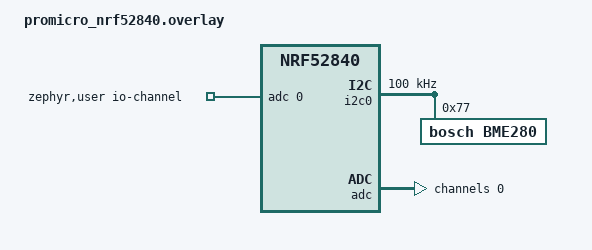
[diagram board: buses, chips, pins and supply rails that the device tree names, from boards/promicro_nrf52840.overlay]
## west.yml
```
# Copyright (c) 2021 Nordic Semiconductor ASA
# SPDX-License-Identifier: Apache-2.0

manifest:
  self:
    # west-commands: scripts/west-commands.yml
    path: app

  remotes:
    - name: zephyrproject-rtos
      url-base: https://github.com/zephyrproject-rtos

  projects:
    - name: zephyr
      remote: zephyrproject-rtos
      revision: v4.1.0
      import:
        # By using name-allowlist we can clone only the modules that are
        # strictly needed by the application.
        name-allowlist:
          - cmsis # required by the ARM port
          - hal_nordic # required by the custom_plank board (Nordic based)
          - hal_stm32 # required by the nucleo_f302r8 board (STM32 based)
          - segger
    - name: openthread
      url: https://github.com/openthread/openthread
      revision: main
```

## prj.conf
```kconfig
CONFIG_UART_CONSOLE=n
CONFIG_CONSOLE=y

CONFIG_GPIO=y
CONFIG_RTT_CONSOLE=y
CONFIG_USE_SEGGER_RTT=y

# Enable Zephyr logging and RTT backend
CONFIG_LOG=y
CONFIG_LOG_BACKEND_RTT=y

# Enable I2C and BME280 driver
CONFIG_I2C=y
CONFIG_SENSOR=y
CONFIG_BME280=y

# Enable ADC
CONFIG_ADC=y
CONFIG_SENSOR=y
```

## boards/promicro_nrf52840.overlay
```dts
/ {
	aliases {
		adc0 = &adc;
		bme280 = &bme280;
	};
	zephyr,user {
		io-channels = <&adc 0>;
	};
};

&i2c0 {
	status = "okay";
	clock-frequency = <I2C_BITRATE_STANDARD>;
	
	bme280: bme280@77 {
		compatible = "bosch,bme280";
		reg = <0x77>;
		status = "okay";
	};
};

&adc {
	#address-cells = <1>;
	#size-cells = <0>;
	
	channel@0 {
		reg = <0>;
		zephyr,gain = "ADC_GAIN_1_4";
		zephyr,reference = "ADC_REF_INTERNAL";
		zephyr,acquisition-time = <ADC_ACQ_TIME(ADC_ACQ_TIME_MICROSECONDS,10)>;
		zephyr,input-positive = <NRF_SAADC_AIN0>;
		zephyr,resolution = <12>;
		zephyr,oversampling = <2>; /* x4 */
	};
};
```

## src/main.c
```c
#include <zephyr/kernel.h>
#include <zephyr/drivers/adc.h>
#include <zephyr/drivers/gpio.h>
#include <zephyr/drivers/sensor.h>
#include <zephyr/devicetree.h>
#include <zephyr/logging/log.h>
#include <hal/nrf_saadc.h>

LOG_MODULE_REGISTER(main);

/* 1000 msec = 1 sec */
#define SLEEP_TIME_MS 200

static const struct gpio_dt_spec led = GPIO_DT_SPEC_GET(DT_ALIAS(led0), gpios);

/* ADC channel from devicetree */
static const struct adc_dt_spec adc_channel = ADC_DT_SPEC_GET_BY_IDX(DT_PATH(zephyr_user), 0);

/* BME280 device from devicetree */
static const struct device *bme280_dev = DEVICE_DT_GET(DT_ALIAS(bme280));

int main(void)
{
	int ret;
	bool led_state = true;
	int16_t buf;
	struct adc_sequence sequence = {
		.buffer = &buf,
		.buffer_size = sizeof(buf),
	};

	if (!device_is_ready(led.port)) {
		LOG_ERR("LED GPIO device not ready");
		return 0;
	}

	if (!device_is_ready(adc_channel.dev)) {
		LOG_ERR("ADC device not ready");
		return 0;
	}

	ret = gpio_pin_configure_dt(&led, GPIO_OUTPUT_ACTIVE);
	if (ret < 0) {
		LOG_ERR("Error configuring GPIO");
		return 0;
	}

	ret = adc_channel_setup_dt(&adc_channel);
	if (ret < 0) {
		LOG_ERR("Error setting up ADC channel: %d", ret);
		return 0;
	}

	/* Initialize ADC sequence from devicetree */
	ret = adc_sequence_init_dt(&adc_channel, &sequence);

	if (ret < 0) {
		LOG_ERR("Error initializing ADC sequence: %d", ret);
		return 0;
	}

	if (!device_is_ready(bme280_dev)) {
		LOG_ERR("BME280 device not ready");
		return 0;
	}

	while (1) {
		ret = gpio_pin_toggle_dt(&led);
		if (ret < 0) {
			LOG_ERR("Error toggling LED");
			return 0;
		}

		led_state = !led_state;

		/* Read ADC */
		ret = adc_read_dt(&adc_channel, &sequence);
		if (ret < 0) {
			LOG_ERR("Could not read ADC: %d", ret);
		} else {
			int32_t mv = buf;
			ret = adc_raw_to_millivolts_dt(&adc_channel, &mv);
			if (ret < 0) {
				LOG_ERR("Error converting to millivolts: %d", ret);
			} else {
				LOG_INF("ADC(P0.02) = %d mV", mv);
			}
		}

		/* Read BME280 */
		struct sensor_value temp, press, humidity;

		ret = sensor_sample_fetch(bme280_dev);
		if (ret < 0) {
			LOG_ERR("Could not fetch BME280 samples: %d", ret);
		} else {
			ret = sensor_channel_get(bme280_dev, SENSOR_CHAN_AMBIENT_TEMP, &temp);
			if (ret < 0) {
				LOG_ERR("Could not get BME280 temperature: %d", ret);
			}

			ret = sensor_channel_get(bme280_dev, SENSOR_CHAN_PRESS, &press);
			if (ret < 0) {
				LOG_ERR("Could not get BME280 pressure: %d", ret);
			}

			ret = sensor_channel_get(bme280_dev, SENSOR_CHAN_HUMIDITY, &humidity);
			if (ret < 0) {
				LOG_ERR("Could not get BME280 humidity: %d", ret);
			}

			LOG_INF("BME280: %.2f C, %.1f kPa, %.1f %%RH",
				sensor_value_to_double(&temp), sensor_value_to_double(&press),
				sensor_value_to_double(&humidity));
		}

		k_msleep(SLEEP_TIME_MS);
	}
	return 0;
}
```
